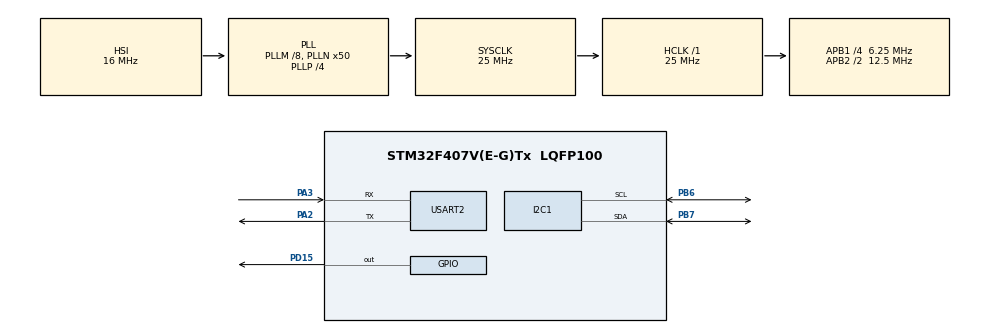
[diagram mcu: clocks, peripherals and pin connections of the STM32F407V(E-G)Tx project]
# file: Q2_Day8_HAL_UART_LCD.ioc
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Mcu.Family=STM32F4
Mcu.Name=STM32F407V(E-G)Tx
Mcu.Package=LQFP100
NVIC.PriorityGroup=NVIC_PRIORITYGROUP_0
PA2.Mode=Asynchronous
PA2.Signal=USART2_TX
PA3.Mode=Asynchronous
PA3.Signal=USART2_RX
PB6.Mode=I2C
PB6.Signal=I2C1_SCL
PB7.Mode=I2C
PB7.Signal=I2C1_SDA
PD15.Signal=GPIO_Output
ProjectManager.HeapSize=0x200
ProjectManager.StackSize=0x400
ProjectManager.TargetToolchain=STM32CubeIDE
RCC.48MHZClocksFreq_Value=14285714.285714285
RCC.AHBFreq_Value=25000000
RCC.APB1CLKDivider=RCC_HCLK_DIV4
RCC.APB1Freq_Value=6250000
RCC.APB1TimFreq_Value=12500000
RCC.APB2CLKDivider=RCC_HCLK_DIV2
RCC.APB2Freq_Value=12500000
RCC.APB2TimFreq_Value=25000000
RCC.CortexFreq_Value=25000000
RCC.HCLKFreq_Value=25000000
RCC.HSE_VALUE=8000000
RCC.HSI_VALUE=16000000
RCC.PLLM=8
RCC.PLLN=50
RCC.PLLP=RCC_PLLP_DIV4
RCC.PLLQ=7
RCC.SYSCLKFreq_VALUE=25000000
RCC.SYSCLKSource=RCC_SYSCLKSOURCE_PLLCLK
RCC.VCOOutputFreq_Value=100000000
USART2.VirtualMode=VM_ASYNC
board=STM32F407G-DISC1

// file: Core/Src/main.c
/* USER CODE BEGIN Header */
/**
  ******************************************************************************
  * @file           : main.c
  * @brief          : Main program body
  ******************************************************************************
  * @attention
  *
  * Copyright (c) 2026 STMicroelectronics.
  * All rights reserved.
  *
  * This software is licensed under terms that can be found in the LICENSE file
  * in the root directory of this software component.
  * If no LICENSE file comes with this software, it is provided AS-IS.
  *
  ******************************************************************************
  */
/* USER CODE END Header */
#include "main.h"
#include "lcd.h"

I2C_HandleTypeDef hi2c1;

UART_HandleTypeDef huart2;

void SystemClock_Config(void);
static void MX_GPIO_Init(void);
static void MX_I2C1_Init(void);
static void MX_USART2_UART_Init(void);
/* USER CODE BEGIN PFP */
void UART_Gets(char str[]) {
	char ch;
	for(int i=0; i<32; i++) {
		HAL_UART_Receive(&huart2, (uint8_t*)&ch, 1, HAL_MAX_DELAY);
		str[i] = ch;
		   if (ch == '\r' || ch == '\n') {
		            str[i] = '\0';   // end string properly
		            break;
		        }
	}
}
/* USER CODE END PFP */

int main(void)
{

  /* MCU Configuration--------------------------------------------------------*/

  /* Reset of all peripherals, Initializes the Flash interface and the Systick. */
  HAL_Init();

  /* Configure the system clock */
  SystemClock_Config();

  /* Initialize all configured peripherals */
  MX_GPIO_Init();
  MX_I2C1_Init();
  MX_USART2_UART_Init();
  /* USER CODE BEGIN 2 */
  lcd_init();

  HAL_UART_Transmit(&huart2, (uint8_t*)"UART LCD\r\n", 13, HAL_MAX_DELAY);
  HAL_Delay(1000);
  lcd_puts(LCD_LINE1, "Hello");
  HAL_Delay(1000);
  /* USER CODE END 2 */

  /* Infinite loop */
  /* USER CODE BEGIN WHILE */
  while (1)
  {

	  char str[32];
	  char choice;

	  	  	  // receive a string
	  	  	HAL_Delay(1000);
	  	  	HAL_UART_Transmit(&huart2, (uint8_t*)"Enter line (1 or 2): ", 22, HAL_MAX_DELAY);
	      	HAL_UART_Receive(&huart2, (uint8_t*)&choice, 1, HAL_MAX_DELAY);

	      	HAL_UART_Transmit(&huart2, (uint8_t*)"Enter string: ", 14, HAL_MAX_DELAY);
	        UART_Gets(str);
	  	  	  // convert to capital case
	  	  	  strupr(str);
	  	  	  // transmit it back
	  	  	HAL_UART_Transmit(&huart2, (uint8_t*)str, strlen(str), HAL_MAX_DELAY);
	  	    HAL_UART_Transmit(&huart2, (uint8_t*)"\r\n", 2, HAL_MAX_DELAY);

	  	  if(choice == '1') {
	  		lcd_clear_line(LCD_LINE1);
	  	          lcd_puts(LCD_LINE1, str);
	  	      }
	  	      else if(choice == '2') {
	  	    	lcd_clear_line(LCD_LINE2);
	  	          lcd_puts(LCD_LINE2, str);
	  	      }
	  	      else {
	  	          HAL_UART_Transmit(&huart2, (uint8_t*)"Invalid line!\r\n", 16, HAL_MAX_DELAY);
	  	      }

    /* USER CODE END WHILE */

  }
}

void SystemClock_Config(void)
{
  RCC_OscInitTypeDef RCC_OscInitStruct = {0};
  RCC_ClkInitTypeDef RCC_ClkInitStruct = {0};

  /** Configure the main internal regulator output voltage
  */
  __HAL_RCC_PWR_CLK_ENABLE();
  __HAL_PWR_VOLTAGESCALING_CONFIG(PWR_REGULATOR_VOLTAGE_SCALE1);

  /** Initializes the RCC Oscillators according to the specified parameters
  * in the RCC_OscInitTypeDef structure.
  */
  RCC_OscInitStruct.OscillatorType = RCC_OSCILLATORTYPE_HSI;
  RCC_OscInitStruct.HSIState = RCC_HSI_ON;
  RCC_OscInitStruct.HSICalibrationValue = RCC_HSICALIBRATION_DEFAULT;
  RCC_OscInitStruct.PLL.PLLState = RCC_PLL_ON;
  RCC_OscInitStruct.PLL.PLLSource = RCC_PLLSOURCE_HSI;
  RCC_OscInitStruct.PLL.PLLM = 8;
  RCC_OscInitStruct.PLL.PLLN = 50;
  RCC_OscInitStruct.PLL.PLLP = RCC_PLLP_DIV4;
  RCC_OscInitStruct.PLL.PLLQ = 7;
  if (HAL_RCC_OscConfig(&RCC_OscInitStruct) != HAL_OK)
  {
    Error_Handler();
  }

  /** Initializes the CPU, AHB and APB buses clocks
  */
  RCC_ClkInitStruct.ClockType = RCC_CLOCKTYPE_HCLK|RCC_CLOCKTYPE_SYSCLK
                              |RCC_CLOCKTYPE_PCLK1|RCC_CLOCKTYPE_PCLK2;
  RCC_ClkInitStruct.SYSCLKSource = RCC_SYSCLKSOURCE_PLLCLK;
  RCC_ClkInitStruct.AHBCLKDivider = RCC_SYSCLK_DIV1;
  RCC_ClkInitStruct.APB1CLKDivider = RCC_HCLK_DIV4;
  RCC_ClkInitStruct.APB2CLKDivider = RCC_HCLK_DIV2;

  if (HAL_RCC_ClockConfig(&RCC_ClkInitStruct, FLASH_LATENCY_0) != HAL_OK)
  {
    Error_Handler();
  }
}

static void MX_I2C1_Init(void)
{

  hi2c1.Instance = I2C1;
  hi2c1.Init.ClockSpeed = 100000;
  hi2c1.Init.DutyCycle = I2C_DUTYCYCLE_2;
  hi2c1.Init.OwnAddress1 = 0;
  hi2c1.Init.AddressingMode = I2C_ADDRESSINGMODE_7BIT;
  hi2c1.Init.DualAddressMode = I2C_DUALADDRESS_DISABLE;
  hi2c1.Init.OwnAddress2 = 0;
  hi2c1.Init.GeneralCallMode = I2C_GENERALCALL_DISABLE;
  hi2c1.Init.NoStretchMode = I2C_NOSTRETCH_DISABLE;
  if (HAL_I2C_Init(&hi2c1) != HAL_OK)
  {
    Error_Handler();
  }

}

static void MX_USART2_UART_Init(void)
{

  huart2.Instance = USART2;
  huart2.Init.BaudRate = 115200;
  huart2.Init.WordLength = UART_WORDLENGTH_8B;
  huart2.Init.StopBits = UART_STOPBITS_1;
  huart2.Init.Parity = UART_PARITY_NONE;
  huart2.Init.Mode = UART_MODE_TX_RX;
  huart2.Init.HwFlowCtl = UART_HWCONTROL_NONE;
  huart2.Init.OverSampling = UART_OVERSAMPLING_16;
  if (HAL_UART_Init(&huart2) != HAL_OK)
  {
    Error_Handler();
  }

}

static void MX_GPIO_Init(void)
{
  GPIO_InitTypeDef GPIO_InitStruct = {0};

  /* GPIO Ports Clock Enable */
  __HAL_RCC_GPIOA_CLK_ENABLE();
  __HAL_RCC_GPIOD_CLK_ENABLE();
  __HAL_RCC_GPIOB_CLK_ENABLE();

  /*Configure GPIO pin Output Level */
  HAL_GPIO_WritePin(GPIOD, GPIO_PIN_15, GPIO_PIN_RESET);

  /*Configure GPIO pin : PD15 */
  GPIO_InitStruct.Pin = GPIO_PIN_15;
  GPIO_InitStruct.Mode = GPIO_MODE_OUTPUT_PP;
  GPIO_InitStruct.Pull = GPIO_NOPULL;
  GPIO_InitStruct.Speed = GPIO_SPEED_FREQ_LOW;
  HAL_GPIO_Init(GPIOD, &GPIO_InitStruct);

}

void Error_Handler(void)
{
  __disable_irq();
  while (1)
  {
  }
}
